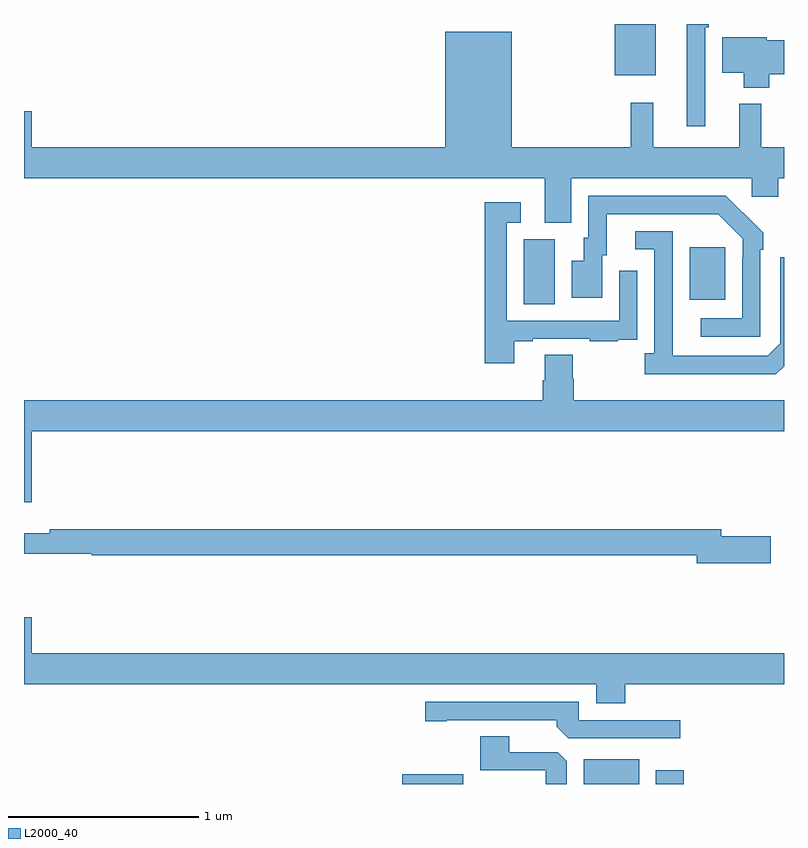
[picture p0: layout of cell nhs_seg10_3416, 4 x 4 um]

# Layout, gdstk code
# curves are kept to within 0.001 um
import gdstk
lib = gdstk.Library(unit=1e-6, precision=1e-09)
def R(c, l, rs):  # rectangles x0, y0, x1, y1
    for r in rs: c.add(gdstk.rectangle(r[:2], r[2:], *l))
def P(c, l, *ps):  # polygons
    for p in ps: c.add(gdstk.Polygon(p, *l))
L2000_40 = (2000, 40)

nhs_seg10_3416 = lib.new_cell('nhs_seg10_3416')
R(nhs_seg10_3416, L2000_40, [(298.991,1258.5,299.311,1258.552), (299.945,1258.5,300.238,1258.63), (300.326,1258.5,300.473,1258.573), (299.63,1261.024,299.794,1261.368), (300.503,1261.049,300.691,1261.324), (300.11,1262.231,300.325,1262.5)])
P(nhs_seg10_3416, L2000_40, [(300.585,1262.483),(300.605,1262.483),(300.605,1262.5),(300.488,1262.5),(300.488,1261.962),(300.585,1261.962)],
  [(299.881,1261.688),(300.831,1261.688),(300.831,1261.59),(300.97,1261.59),(300.97,1261.688),(301,1261.688),(301,1261.852),(300.881,1261.852),(300.881,1262.08),(300.764,1262.08),(300.764,1261.852),(300.311,1261.852),(300.311,1262.086),(300.193,1262.086),(300.193,1261.852),(299.566,1261.852),(299.566,1262.458),(299.216,1262.458),(299.216,1261.852),(297.04,1261.852),(297.04,1262.041),(297,1262.041),(297,1261.688),(299.741,1261.688),(299.741,1261.453),(299.881,1261.453)],
  [(300.923,1262.236),(301,1262.236),(301,1262.414),(300.91,1262.414),(300.91,1262.431),(300.674,1262.431),(300.674,1262.243),(300.788,1262.243),(300.788,1262.165),(300.923,1262.165)],
  [(300.876,1261.313),(300.891,1261.313),(300.891,1261.401),(300.694,1261.596),(299.97,1261.596),(299.97,1261.374),(299.945,1261.374),(299.945,1261.255),(299.882,1261.255),(299.882,1261.059),(300.043,1261.059),(300.043,1261.284),(300.067,1261.284),(300.067,1261.5),(300.655,1261.5),(300.783,1261.371),(300.783,1261.271),(300.78,1261.271),(300.78,1260.951),(300.561,1260.951),(300.561,1260.855),(300.876,1260.855)],
  [(299.581,1260.831),(299.677,1260.831),(299.677,1260.843),(299.977,1260.843),(299.977,1260.831),(300.125,1260.831),(300.125,1260.837),(300.227,1260.837),(300.227,1260.946),(300.228,1260.946),(300.228,1261.201),(300.132,1261.201),(300.132,1260.939),(299.541,1260.939),(299.541,1261.455),(299.614,1261.455),(299.614,1261.561),(299.425,1261.561),(299.425,1260.714),(299.581,1260.714)],
  [(301,1260.7),(301,1261.273),(300.981,1261.273),(300.981,1260.819),(300.915,1260.753),(300.415,1260.753),(300.414,1261.41),(300.216,1261.41),(300.216,1261.314),(300.318,1261.314),(300.318,1260.766),(300.267,1260.766),(300.267,1260.656),(300.956,1260.656)],
  [(297.04,1260.356),(301,1260.356),(301,1260.52),(299.894,1260.52),(299.894,1260.633),(299.889,1260.633),(299.889,1260.758),(299.741,1260.758),(299.741,1260.626),(299.729,1260.626),(299.729,1260.52),(297,1260.52),(297,1259.982),(297.04,1259.982)],
  [(300.931,1259.804),(300.67,1259.804),(300.67,1259.84),(297.136,1259.84),(297.136,1259.821),(297,1259.821),(297,1259.712),(297.356,1259.712),(297.356,1259.704),(300.542,1259.704),(300.542,1259.662),(300.931,1259.662)],
  [(300.164,1259.024),(301,1259.024),(301,1259.188),(297.04,1259.188),(297.04,1259.377),(297,1259.377),(297,1259.024),(300.011,1259.024),(300.011,1258.925),(300.164,1258.925)],
  [(300.454,1258.836),(299.919,1258.836),(299.919,1258.932),(299.112,1258.932),(299.112,1258.831),(299.224,1258.831),(299.224,1258.836),(299.804,1258.836),(299.804,1258.802),(299.865,1258.74),(300.454,1258.74)],
  [(299.857,1258.619),(299.808,1258.668),(299.554,1258.668),(299.554,1258.751),(299.402,1258.751),(299.402,1258.572),(299.745,1258.572),(299.745,1258.5),(299.857,1258.5)])

lib.write_gds('nhs_seg10_3416.gds')
